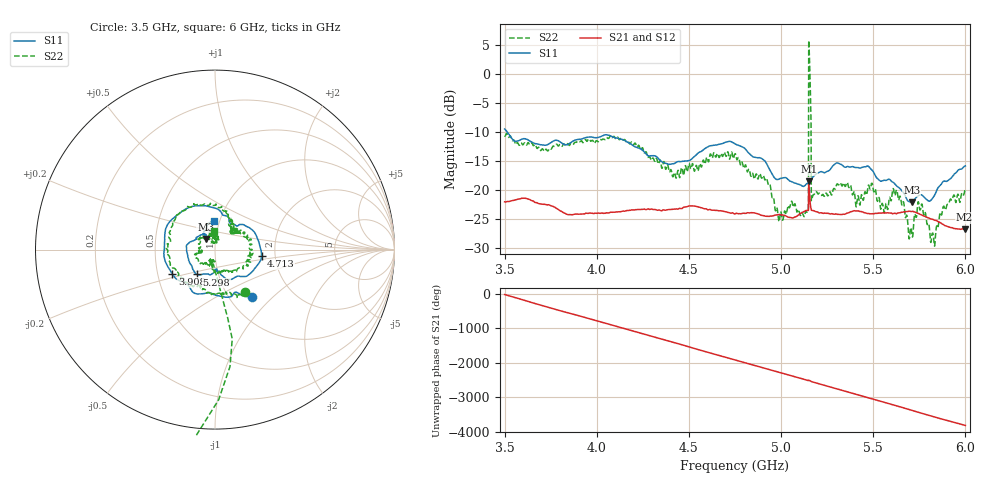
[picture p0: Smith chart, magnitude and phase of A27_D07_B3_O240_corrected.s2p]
! Created with skrf 1.9.0 (http://scikit-rf.org).
# Hz S RI R 50.0
!freq ReS11 ImS11 ReS21 ImS21 ReS12 ImS12 ReS22 ImS22
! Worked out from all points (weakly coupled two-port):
!   1601 points, 3.5 GHz to 6 GHz, reference 50 ohm
!   highest |S21| = -18.45 dB at 5.15 GHz (marker M1); lowest = -26.7 dB at 5.995 GHz (marker M2)
!   lowest |S11| = -22.1 dB at 5.709 GHz (marker M3), VSWR 1.17, Z = 44.8 + j5.38 ohm
!   |S11| at or under -10 dB: 3.514 GHz to end of sweep
!   |S22| runs from -29.6 to 5.7 dB; largest |S21 - S12| = 0.00098
!   S11 on the Smith chart (normalised r, x): 3.5 GHz: 1.27, -0.75; 3.908 GHz: 0.60, -0.17; 4.713 GHz: 1.69, -0.13; 5.298 GHz: 0.79, -0.23; 6 GHz: 0.93, +0.31
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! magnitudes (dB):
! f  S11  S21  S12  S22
! 3.5 GHz  -9.5  -22.0  -22.0  -10.7
! 3.908 GHz  -11.3  -24.1  -24.1  -11.7
! 3.917 GHz  -11.2  -24.1  -24.1  -11.5
! 4.334 GHz  -14.6  -23.4  -23.4  -15.5
! 4.713 GHz  -11.6  -23.8  -23.8  -13.5
! 4.75 GHz  -12.0  -24.1  -24.0  -13.7
! 4.914 GHz  -15.1  -24.5  -24.4  -18.2
! 4.997 GHz  -18.0  -24.2  -24.2  -23.8
! 5.117 GHz  -19.3  -23.8  -23.7  -24.1
! 5.136 GHz  -19.0  -23.5  -23.4  -23.6
! 5.15 GHz  -18.6  -18.5  -18.5  5.7
! 5.162 GHz  -18.1  -23.1  -23.1  -8.2
! 5.167 GHz  -17.9  -23.5  -23.4  -21.4
! 5.177 GHz  -17.6  -23.5  -23.5  -20.8
! 5.298 GHz  -15.4  -24.1  -24.1  -19.3
! 5.584 GHz  -18.1  -23.9  -23.9  -22.0
! 5.636 GHz  -19.5  -23.9  -23.9  -21.5
! 5.709 GHz  -22.1  -23.6  -23.6  -27.4
! 5.755 GHz  -20.8  -24.1  -24.1  -23.4
! 5.823 GHz  -21.3  -25.0  -25.0  -27.3
! 5.995 GHz  -15.9  -26.7  -26.6  -20.2
! 6 GHz  -15.8  -26.7  -26.7  -19.7
